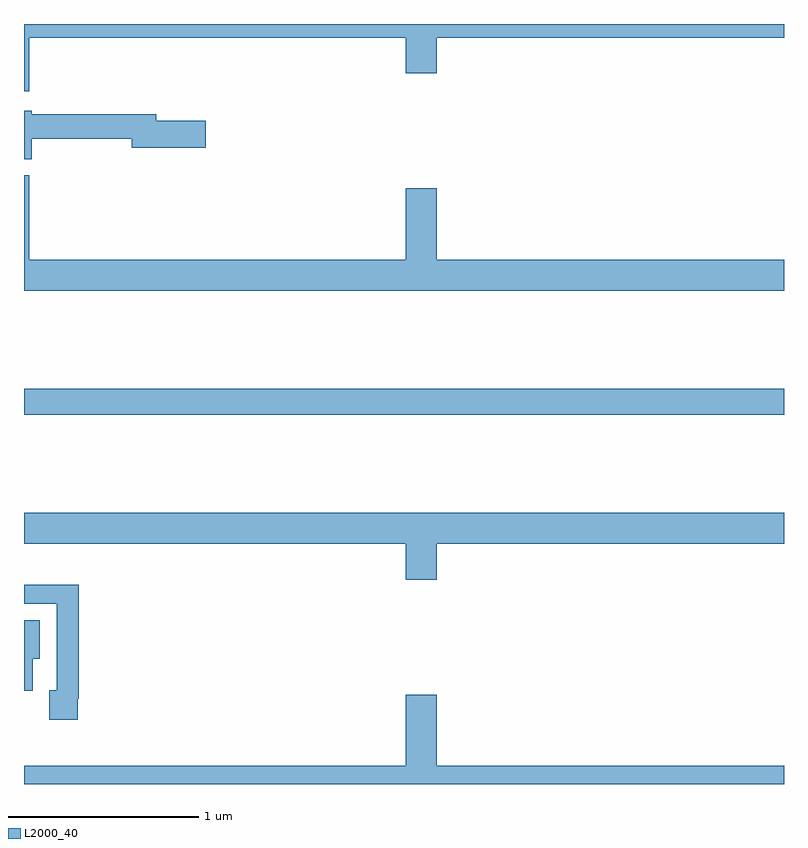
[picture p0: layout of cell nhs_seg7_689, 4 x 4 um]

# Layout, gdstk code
import gdstk
lib = gdstk.Library(unit=1e-6, precision=1e-09)
def R(c, l, rs):  # rectangles x0, y0, x1, y1
    for r in rs: c.add(gdstk.rectangle(r[:2], r[2:], *l))
def P(c, l, *ps):  # polygons
    for p in ps: c.add(gdstk.Polygon(p, *l))
L2000_40 = (2000, 40)

nhs_seg7_689 = lib.new_cell('nhs_seg7_689')
R(nhs_seg7_689, L2000_40, [(163,1019.944,167,1020.08)])
P(nhs_seg7_689, L2000_40, [(163.027,1021.928),(165.008,1021.928),(165.008,1021.74),(165.172,1021.74),(165.172,1021.928),(167,1021.928),(167,1022),(163,1022),(163,1021.647),(163.027,1021.647)],
  [(163.042,1021.396),(163.568,1021.396),(163.568,1021.349),(163.957,1021.349),(163.957,1021.491),(163.696,1021.491),(163.696,1021.525),(163.042,1021.525),(163.042,1021.543),(163,1021.543),(163,1021.289),(163.042,1021.289)],
  [(167,1020.76),(165.172,1020.76),(165.172,1021.135),(165.008,1021.135),(165.008,1020.76),(163.027,1020.76),(163.027,1021.204),(163,1021.204),(163,1020.596),(167,1020.596)],
  [(165.172,1019.264),(167,1019.264),(167,1019.428),(163,1019.428),(163,1019.264),(165.008,1019.264),(165.008,1019.076),(165.172,1019.076)],
  [(163.282,1018.45),(163.289,1018.45),(163.289,1019.048),(163,1019.048),(163,1018.95),(163.173,1018.95),(163.173,1018.494),(163.133,1018.494),(163.133,1018.338),(163.282,1018.338)],
  [(163.045,1018.658),(163.084,1018.658),(163.084,1018.861),(163,1018.861),(163,1018.49),(163.045,1018.49)],
  [(167,1018.096),(165.172,1018.096),(165.172,1018.471),(165.008,1018.471),(165.008,1018.096),(163,1018.096),(163,1018),(167,1018)])

lib.write_gds('nhs_seg7_689.gds')
